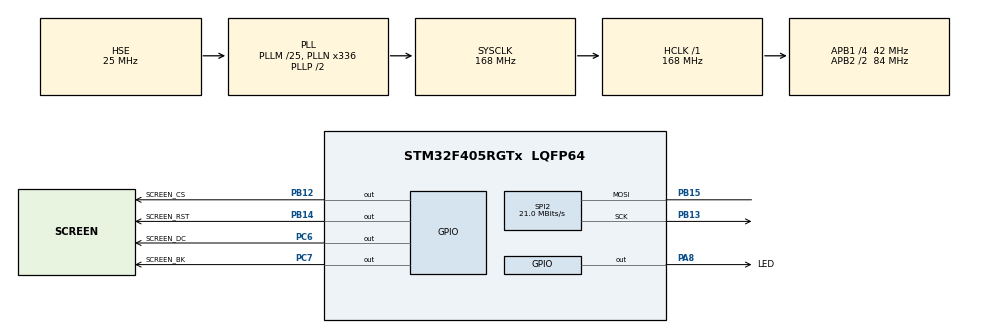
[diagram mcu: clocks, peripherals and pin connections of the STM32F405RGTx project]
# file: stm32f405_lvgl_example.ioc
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FREERTOS.Tasks01=defaultTask,24,128,StartDefaultTask,Default,NULL,Dynamic,NULL,NULL
FREERTOS.configGENERATE_RUN_TIME_STATS=1
FREERTOS.configTOTAL_HEAP_SIZE=32768
FREERTOS.configUSE_STATS_FORMATTING_FUNCTIONS=1
Mcu.Family=STM32F4
Mcu.Name=STM32F405RGTx
Mcu.Package=LQFP64
NVIC.PriorityGroup=NVIC_PRIORITYGROUP_4
PA8.GPIO_Label=LED
PA8.GPIO_PuPd=GPIO_PULLUP
PA8.GPIO_Speed=GPIO_SPEED_FREQ_VERY_HIGH
PA8.PinState=GPIO_PIN_RESET
PA8.Signal=GPIO_Output
PB12.GPIO_Label=SCREEN_CS
PB12.GPIO_PuPd=GPIO_PULLUP
PB12.GPIO_Speed=GPIO_SPEED_FREQ_VERY_HIGH
PB12.PinState=GPIO_PIN_SET
PB12.Signal=GPIO_Output
PB13.Mode=Simplex_Bidirectional_Master
PB13.Signal=SPI2_SCK
PB14.GPIO_Label=SCREEN_RST
PB14.GPIO_PuPd=GPIO_PULLUP
PB14.GPIO_Speed=GPIO_SPEED_FREQ_VERY_HIGH
PB14.PinState=GPIO_PIN_SET
PB14.Signal=GPIO_Output
PB15.Mode=Simplex_Bidirectional_Master
PB15.Signal=SPI2_MOSI
PC6.GPIO_Label=SCREEN_DC
PC6.GPIO_PuPd=GPIO_PULLUP
PC6.GPIO_Speed=GPIO_SPEED_FREQ_VERY_HIGH
PC6.PinState=GPIO_PIN_SET
PC6.Signal=GPIO_Output
PC7.GPIO_Label=SCREEN_BK
PC7.GPIO_PuPd=GPIO_PULLUP
PC7.GPIO_Speed=GPIO_SPEED_FREQ_LOW
PC7.PinState=GPIO_PIN_SET
PC7.Signal=GPIO_Output
PH0-OSC_IN.Mode=HSE-External-Oscillator
PH0-OSC_IN.Signal=RCC_OSC_IN
PH1-OSC_OUT.Mode=HSE-External-Oscillator
PH1-OSC_OUT.Signal=RCC_OSC_OUT
ProjectManager.HeapSize=0x200
ProjectManager.StackSize=0x400
ProjectManager.TargetToolchain=MDK-ARM V5.32
RCC.48MHZClocksFreq_Value=84000000
RCC.AHBFreq_Value=168000000
RCC.APB1CLKDivider=RCC_HCLK_DIV4
RCC.APB1Freq_Value=42000000
RCC.APB1TimFreq_Value=84000000
RCC.APB2CLKDivider=RCC_HCLK_DIV2
RCC.APB2Freq_Value=84000000
RCC.APB2TimFreq_Value=168000000
RCC.CortexFreq_Value=168000000
RCC.HCLKFreq_Value=168000000
RCC.HSE_VALUE=25000000
RCC.HSI_VALUE=16000000
RCC.PLLM=25
RCC.PLLN=336
RCC.PLLSourceVirtual=RCC_PLLSOURCE_HSE
RCC.SYSCLKFreq_VALUE=168000000
RCC.SYSCLKSource=RCC_SYSCLKSOURCE_PLLCLK
RCC.VCOOutputFreq_Value=336000000
SPI2.BaudRatePrescaler=SPI_BAUDRATEPRESCALER_2
SPI2.CalculateBaudRate=21.0 MBits/s
SPI2.Direction=SPI_DIRECTION_1LINE
SPI2.Mode=SPI_MODE_MASTER
SPI2.VirtualType=VM_MASTER
VP_FREERTOS_VS_CMSIS_V2.Mode=CMSIS_V2
board=custom

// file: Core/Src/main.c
/* USER CODE BEGIN Header */
/**
  ******************************************************************************
  * @file           : main.c
  * @brief          : Main program body
  ******************************************************************************
  * @attention
  *
  * <h2><center>&copy; Copyright (c) 2021 STMicroelectronics.
  * All rights reserved.</center></h2>
  *
  * This software component is licensed by ST under BSD 3-Clause license,
  * the "License"; You may not use this file except in compliance with the
  * License. You may obtain a copy of the License at:
  *                        opensource.org/licenses/BSD-3-Clause
  *
  ******************************************************************************
  */
/* USER CODE END Header */
#include "main.h"
#include "cmsis_os.h"
#include "spi.h"
#include "gpio.h"

/* USER CODE BEGIN Includes */
#include "lv_port_disp_template.h"
#include <st7735.h>
#include <lvgl.h>
/* USER CODE END Includes */

void SystemClock_Config(void);
void MX_FREERTOS_Init(void);

int main(void)
{

  /* MCU Configuration--------------------------------------------------------*/

  /* Reset of all peripherals, Initializes the Flash interface and the Systick. */
  HAL_Init();

  /* Configure the system clock */
  SystemClock_Config();

  /* Initialize all configured peripherals */
  MX_GPIO_Init();
  MX_SPI2_Init();
  /* USER CODE BEGIN 2 */

  // !!!!!! lvgl example in MX_FREERTOS_Init

  /* USER CODE END 2 */

  /* Init scheduler */
  osKernelInitialize();  /* Call init function for freertos objects (in freertos.c) */
  MX_FREERTOS_Init();
  /* Start scheduler */
  osKernelStart();

  /* We should never get here as control is now taken by the scheduler */
  /* Infinite loop */
  while (1)
  {

  }
}

void SystemClock_Config(void)
{
  RCC_OscInitTypeDef RCC_OscInitStruct = {0};
  RCC_ClkInitTypeDef RCC_ClkInitStruct = {0};

  /** Configure the main internal regulator output voltage
  */
  __HAL_RCC_PWR_CLK_ENABLE();
  __HAL_PWR_VOLTAGESCALING_CONFIG(PWR_REGULATOR_VOLTAGE_SCALE1);
  /** Initializes the RCC Oscillators according to the specified parameters
  * in the RCC_OscInitTypeDef structure.
  */
  RCC_OscInitStruct.OscillatorType = RCC_OSCILLATORTYPE_HSE;
  RCC_OscInitStruct.HSEState = RCC_HSE_ON;
  RCC_OscInitStruct.PLL.PLLState = RCC_PLL_ON;
  RCC_OscInitStruct.PLL.PLLSource = RCC_PLLSOURCE_HSE;
  RCC_OscInitStruct.PLL.PLLM = 25;
  RCC_OscInitStruct.PLL.PLLN = 336;
  RCC_OscInitStruct.PLL.PLLP = RCC_PLLP_DIV2;
  RCC_OscInitStruct.PLL.PLLQ = 4;
  if (HAL_RCC_OscConfig(&RCC_OscInitStruct) != HAL_OK)
  {
    Error_Handler();
  }
  /** Initializes the CPU, AHB and APB buses clocks
  */
  RCC_ClkInitStruct.ClockType = RCC_CLOCKTYPE_HCLK|RCC_CLOCKTYPE_SYSCLK
                              |RCC_CLOCKTYPE_PCLK1|RCC_CLOCKTYPE_PCLK2;
  RCC_ClkInitStruct.SYSCLKSource = RCC_SYSCLKSOURCE_PLLCLK;
  RCC_ClkInitStruct.AHBCLKDivider = RCC_SYSCLK_DIV1;
  RCC_ClkInitStruct.APB1CLKDivider = RCC_HCLK_DIV4;
  RCC_ClkInitStruct.APB2CLKDivider = RCC_HCLK_DIV2;

  if (HAL_RCC_ClockConfig(&RCC_ClkInitStruct, FLASH_LATENCY_5) != HAL_OK)
  {
    Error_Handler();
  }
}

void Error_Handler(void)
{
  __disable_irq();
  while (1)
  {
  }
}

/************************ (C) COPYRIGHT STMicroelectronics *****END OF FILE****/

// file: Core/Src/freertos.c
/* USER CODE BEGIN Header */
/**
  ******************************************************************************
  * File Name          : freertos.c
  * Description        : Code for freertos applications
  ******************************************************************************
  * @attention
  *
  * <h2><center>&copy; Copyright (c) 2021 STMicroelectronics.
  * All rights reserved.</center></h2>
  *
  * This software component is licensed by ST under Ultimate Liberty license
  * SLA0044, the "License"; You may not use this file except in compliance with
  * the License. You may obtain a copy of the License at:
  *                             www.st.com/SLA0044
  *
  ******************************************************************************
  */
/* USER CODE END Header */

#include "FreeRTOS.h"
#include "task.h"
#include "main.h"
#include "cmsis_os.h"

/* USER CODE BEGIN Includes */
#include "lv_port_disp_template.h"
#include <st7735.h>
#include <lvgl.h>
/* USER CODE END Includes */

/* Definitions for defaultTask */
osThreadId_t defaultTaskHandle;
const osThreadAttr_t defaultTask_attributes = {
  .name = "defaultTask",
  .stack_size = 128 * 4,
  .priority = (osPriority_t) osPriorityNormal,
};

void StartDefaultTask(void *argument);

void MX_FREERTOS_Init(void); /* (MISRA C 2004 rule 8.1) */

/* Hook prototypes */
void configureTimerForRunTimeStats(void);
unsigned long getRunTimeCounterValue(void);

/* USER CODE BEGIN 1 */
/* Functions needed when configGENERATE_RUN_TIME_STATS is on */
__weak void configureTimerForRunTimeStats(void)
{

}

__weak unsigned long getRunTimeCounterValue(void)
{
return 0;
}

#define LVGL_TICK 5	// ms

static osThreadId_t lvgl_tick_task_handle;
const osThreadAttr_t lvgl_tick_task_attrs  = {
  .name = "lvgl_tick",
  .stack_size = 512,
  .priority = (osPriority_t) osPriorityLow1,
};
static void lvgl_tick_task()
{
	while(1) {
		lv_tick_inc(LVGL_TICK);
		osDelay(LVGL_TICK);
	}
}

static osThreadId_t lvgl_task_handle;
const osThreadAttr_t lvgl_task_attrs  = {
  .name = "lvgl",
  .stack_size = 2048,
  .priority = (osPriority_t) osPriorityLow,
};
static void lvgl_task()
{
	while(1) {
		lv_timer_handler();
		osDelay(LVGL_TICK);
	}
}

static void lvgl_task_init()
{
	lvgl_tick_task_handle = osThreadNew(lvgl_tick_task, NULL, &lvgl_tick_task_attrs);
	lvgl_task_handle = osThreadNew(lvgl_task, NULL, &lvgl_task_attrs);
}

static void lv_ex_label(void)
{
	static char* github_addr = "Hotakus/stm32f405_lvgl_example";
	lv_obj_t * label = lv_label_create(lv_scr_act());
    lv_label_set_recolor(label, true);
    lv_label_set_long_mode(label, LV_LABEL_LONG_SCROLL_CIRCULAR); /*Circular scroll*/
    lv_obj_set_width(label, 120);
    lv_label_set_text_fmt(label, "#ff0000 Github: %s#", github_addr);
    lv_obj_align(label, LV_ALIGN_CENTER, 0, 10);

    lv_obj_t * label2 = lv_label_create(lv_scr_act());
    lv_label_set_recolor(label2, true);
    lv_label_set_long_mode(label2, LV_LABEL_LONG_SCROLL_CIRCULAR); /*Circular scroll*/
    lv_obj_set_width(label2, 120);
    lv_label_set_text_fmt(label2, "#ff0000 Hello# #00ff00 world ! Trisuborn.#");
    lv_obj_align(label2, LV_ALIGN_CENTER, 0, -10);
}

static void lvgl_init()
{
	lv_init();
	lv_port_disp_init();
	lv_ex_label();

	lvgl_task_init();
}

/* USER CODE END 1 */

void MX_FREERTOS_Init(void) {

  /* Create the thread(s) */
  /* creation of defaultTask */
  defaultTaskHandle = osThreadNew(StartDefaultTask, NULL, &defaultTask_attributes);

}

void StartDefaultTask(void *argument)
{
  /* USER CODE BEGIN StartDefaultTask */

	lvgl_init();

  /* Infinite loop */
  for(;;)
  {
	  HAL_GPIO_TogglePin(LED_GPIO_Port, LED_Pin);
    osDelay(200);
  }
  /* USER CODE END StartDefaultTask */
}

/************************ (C) COPYRIGHT STMicroelectronics *****END OF FILE****/
